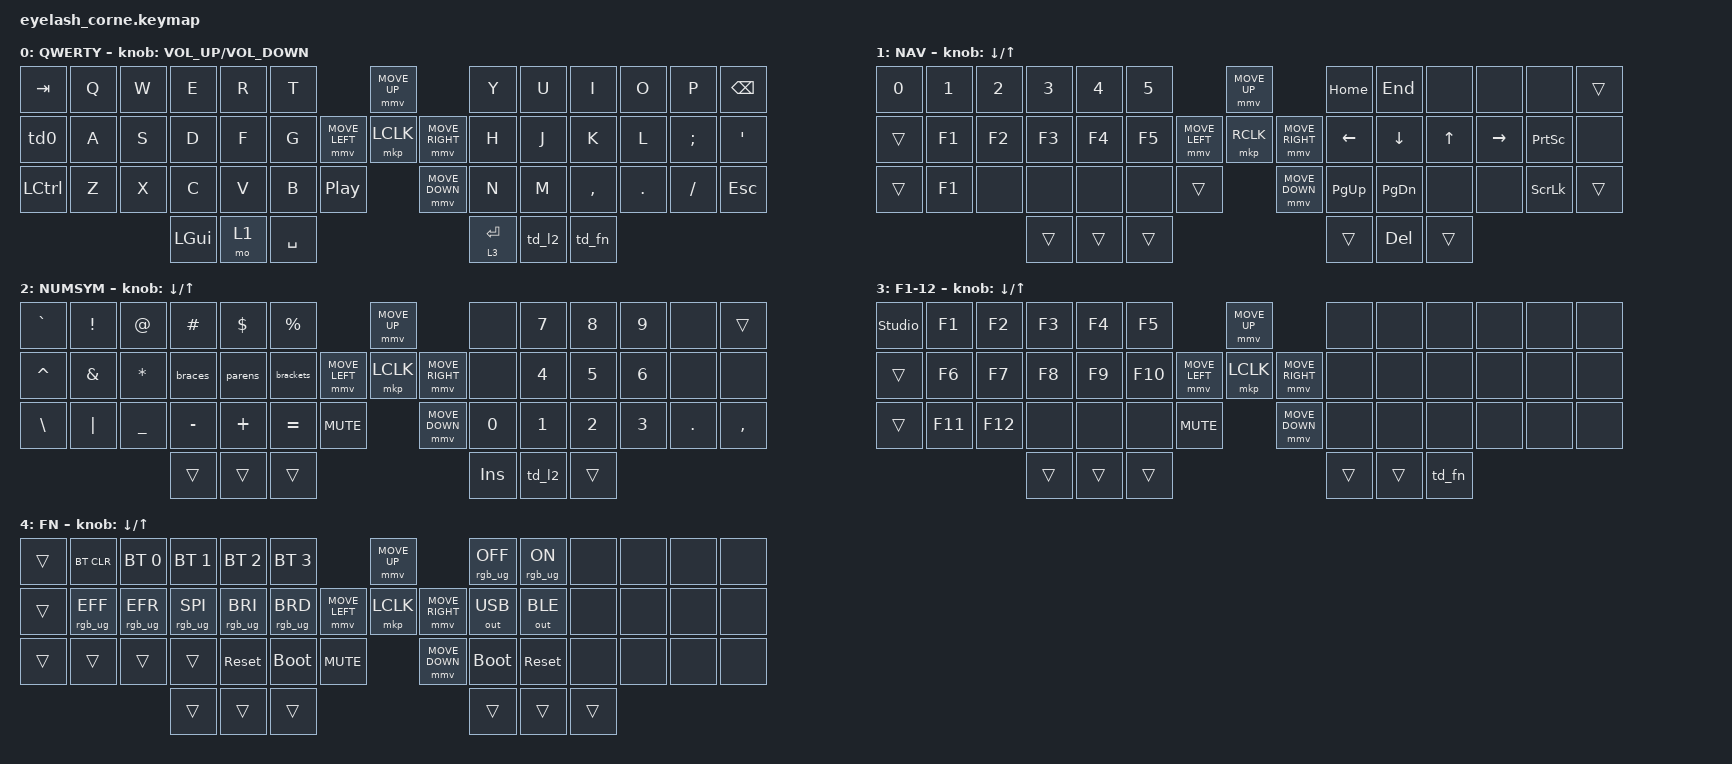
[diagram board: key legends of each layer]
#define ZMK_POINTING_DEFAULT_MOVE_VAL 1200  // 600
#define ZMK_POINTING_DEFAULT_SCRL_VAL 5    // 10

#include <dt-bindings/zmk/bt.h>
#include <dt-bindings/zmk/keys.h>
#include <dt-bindings/zmk/outputs.h>
#include <dt-bindings/zmk/pointing.h>
#include <dt-bindings/zmk/rgb.h>
#include <zephyr/dt-bindings/input/input-event-codes.h>

#include <behaviors.dtsi>
#include <input/processors.dtsi>

&mmv_input_listener { input-processors = <&zip_xy_scaler 2 1>; };

&msc_input_listener { input-processors = <&zip_scroll_scaler 1 3>; };

&msc {
  acceleration-exponent = <0>;   // 10
  time-to-max-speed-ms = <200>;  // 300
  delay-ms = <25>;               // 0
};

&mmv {
  time-to-max-speed-ms = <500>;
  acceleration-exponent = <1>;
  trigger-period-ms = <16>;
};

/ {
  behaviors {
    td0: td0 {
      compatible = "zmk,behavior-tap-dance";
      display-name = "Shift/Caps Lock Tap Dance";
      #binding-cells = <0>;
      bindings = <&kp LEFT_SHIFT>, <&kp CAPS>;
    };
  };

  rgb_encoder: rgb_encoder {
    compatible = "zmk,behavior-sensor-rotate";
    #sensor-binding-cells = <0>;
    bindings = <&rgb_ug RGB_BRI>, <&rgb_ug RGB_BRD>;
  };

  td_l2: td_l2 {
    compatible = "zmk,behavior-tap-dance";
    #binding-cells = <0>;
    bindings = <&mo 2>, <&tog 2>;
  };

  td_fn: td_fn {
      compatible = "zmk,behavior-tap-dance";
      #binding-cells = <0>;
      bindings = <&kp RALT>, <&tog 4>;
      tapping-term-ms = <200>;
  };

  parens: parens {
    compatible = "zmk,behavior-macro";
    label = "()";
    #binding-cells = <0>;
    bindings = <&kp LPAR>, <&kp RPAR>, <&kp LEFT>;
  };

  brackets: brackets {
    compatible = "zmk,behavior-macro";
    label = "[]";
    #binding-cells = <0>;
    bindings = <&kp LBKT>, <&kp RBKT>, <&kp LEFT>;
  };

  braces: braces {
    compatible = "zmk,behavior-macro";
    label = "{}";
    #binding-cells = <0>;
    bindings = <&kp LBRC>, <&kp RBRC>, <&kp LEFT>;
  };

  keymap {
    compatible = "zmk,keymap";

    0_default_layer {
      display-name = "QWERTY";
      bindings =
          <
            &kp TAB    &kp Q  &kp W     &kp E     &kp R  &kp T                                    &mmv MOVE_UP                &kp Y        &kp U  &kp I      &kp O    &kp P     &kp BSPC
            &td0       &kp A  &kp S     &kp D     &kp F  &kp G                     &mmv MOVE_LEFT &mkp LCLK  &mmv MOVE_RIGHT  &kp H        &kp J  &kp K      &kp L    &kp SEMI  &kp SQT
            &kp LCTRL  &kp Z  &kp X     &kp C     &kp V  &kp B        &kp C_PLAY_PAUSE            &mmv MOVE_DOWN              &kp N        &kp M  &kp COMMA  &kp DOT  &kp FSLH  &kp ESC
                                        &kp LGUI  &mo 1  &kp SPACE                                                            &lt 3 ENTER  &td_l2 &td_fn
          >;

      sensor-bindings = <&inc_dec_kp C_VOLUME_UP C_VOLUME_DOWN>;
    };

    1_nav_layer {
      display-name = "NAV";
      bindings =
        <
          &kp N0  &kp N1 &kp N2 &kp N3  &kp N4  &kp N5                                    &mmv MOVE_UP                     &kp HOME     &kp END    &none        &none       &none            &trans
          &trans  &kp F1 &kp F2 &kp F3  &kp F4  &kp F5                    &mmv MOVE_LEFT  &mkp RCLK       &mmv MOVE_RIGHT  &kp LEFT     &kp DOWN   &kp UP       &kp RIGHT   &kp PRINTSCREEN  &none
          &trans  &kp F1 &none  &none   &none   &none            &trans                   &mmv MOVE_DOWN                   &kp PG_UP    &kp PG_DN  &none        &none       &kp SCROLLLOCK   &trans
                                &trans  &trans  &trans                                                                     &trans       &kp DEL    &trans
        >;

      sensor-bindings = <&inc_dec_kp DOWN UP>;
    };

    2_number_symbol_layer{
      display-name = "NUMSYM";
      bindings = 
        <
          &kp GRAVE &kp EXCL &kp AT    &kp HASH   &kp DLLR   &kp PRCNT                                     &mmv MOVE_UP                     &none    &kp N7  &kp N8   &kp N9  &none   &trans
          &kp CARET &kp AMPS &kp ASTRK &braces    &parens    &brackets                     &mmv MOVE_LEFT  &mkp LCLK       &mmv MOVE_RIGHT  &none    &kp N4  &kp N5   &kp N6  &none   &none
          &kp BSLH  &kp PIPE &kp UNDER &kp MINUS  &kp PLUS   &kp EQUAL       &kp C_MUTE                    &mmv MOVE_DOWN                   &kp N0   &kp N1  &kp N2   &kp N3  &kp DOT &kp COMMA
                                       &trans     &trans     &trans                                                                         &kp INS  &td_l2  &trans
        >;

      sensor-bindings = <&inc_dec_kp DOWN UP>;
    };

    3_f_keys_layer{
      display-name = "F1-12";
      bindings =
        <
          &studio_unlock  &kp F1      &kp F2     &kp F3       &kp F4     &kp F5                                    &mmv MOVE_UP                     &none  &none   &none  &none  &none &none
          &trans          &kp F6      &kp F7     &kp F8       &kp F9     &kp F10                   &mmv MOVE_LEFT  &mkp LCLK       &mmv MOVE_RIGHT  &none  &none   &none  &none  &none &none
          &trans          &kp F11     &kp F12    &none        &none      &none       &kp C_MUTE                    &mmv MOVE_DOWN                   &none  &none   &none  &none  &none &none
                                                 &trans       &trans     &trans                                                                     &trans &trans  &td_fn
        >;

      sensor-bindings = <&inc_dec_kp DOWN UP>;
    };

    4_fn_layer{
      display-name = "FN";
      bindings = 
        <
          &trans    &bt BT_CLR       &bt BT_SEL 0    &bt BT_SEL 1    &bt BT_SEL 2     &bt BT_SEL 3                                  &mmv MOVE_UP                     &rgb_ug RGB_OFF  &rgb_ug RGB_ON &none   &none &none &none 
          &trans    &rgb_ug RGB_EFF  &rgb_ug RGB_EFR &rgb_ug RGB_SPI &rgb_ug RGB_BRI  &rgb_ug RGB_BRD               &mmv MOVE_LEFT  &mkp LCLK       &mmv MOVE_RIGHT  &out OUT_USB     &out OUT_BLE   &none   &none &none &none
          &trans    &trans           &trans          &trans          &sys_reset       &bootloader     &kp C_MUTE                    &mmv MOVE_DOWN                   &bootloader      &sys_reset     &none   &none &none &none
                                                     &trans          &trans           &trans                                                                         &trans           &trans         &trans
        >;

      sensor-bindings = <&inc_dec_kp DOWN UP>;
    };
  };
};
